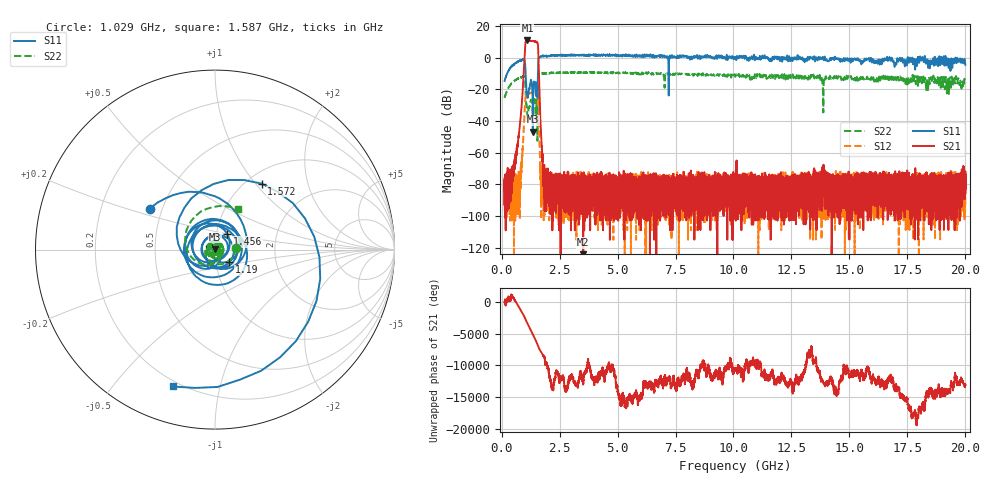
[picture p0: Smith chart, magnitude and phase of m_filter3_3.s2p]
!Created with skrf (http://scikit-rf.org).
# GHz S RI R 50.0
!freq ReS11 ImS11 ReS21 ImS21 ReS12 ImS12 ReS22 ImS22
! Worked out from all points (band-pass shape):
!   20013 points, 130 MHz to 20 GHz, reference 50 ohm
!   highest |S21| = 10.85 dB at 1.112 GHz (marker M1); lowest = -178.6 dB at 3.52 GHz (marker M2)
!   |S21| within 3 dB of the highest: 1.018 GHz to 1.569 GHz (551.7 MHz wide, 42.7 % of centre)
!   lowest |S11| = -46.8 dB at 1.346 GHz (marker M3), VSWR 1.01, Z = 49.8 + j0.398 ohm
!   |S11| at or under -10 dB: start of sweep to 240.7 MHz; 1.037 GHz to 1.567 GHz (530.6 MHz wide, 40.8 % of centre); 7.203524 GHz to 7.2114 GHz (7.875 MHz wide, 0.109 % of centre) (the widest 3 of 4)
!   |S22| runs from -52.5 to -9.0 dB; largest |S21 - S12| = 3.5
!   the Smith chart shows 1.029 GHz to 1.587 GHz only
!   S11 on the Smith chart (normalised r, x): 1.029 GHz: 0.43, +0.24; 1.19 GHz: 1.16, -0.16; 1.456 GHz: 1.13, +0.20; 1.572 GHz: 1.17, +1.08; 1.587 GHz: 0.17, -0.72
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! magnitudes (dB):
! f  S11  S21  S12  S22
! 130 MHz  -14.8  -80.0  -84.6  -25.5
! 482 MHz  -4.7  -71.0  -81.4  -15.5
! 760 MHz  -2.0  -46.6  -79.0  -13.1
! 841 MHz  -1.7  -34.1  -71.8  -12.5
! 931 MHz  -1.1  -15.4  -51.6  -12.0
! 1.029 GHz  -7.4  9.4  -25.7  -18.6
! 1.112 GHz  -22.7  10.9  -23.4  -39.2
! 1.19 GHz  -19.5  10.6  -22.9  -31.1
! 1.346 GHz  -46.8  10.6  -21.8  -35.2
! 1.456 GHz  -19.1  10.2  -21.4  -33.3
! 1.572 GHz  -6.9  7.3  -23.6  -16.6
! 1.587 GHz  -2.0  0.4  -30.3  -11.8
! 1.731 GHz  0.9  -55.6  -75.0  -10.0
! 1.807 GHz  0.8  -73.6  -81.8  -10.0
! 1.893 GHz  0.9  -81.4  -78.4  -9.8
! 3.442 GHz  1.2  -96.5  -89.8  -9.8
! 3.52 GHz  1.9  -178.6  -79.6  -9.6
! 6.754 GHz  1.3  -83.3  -83.0  -9.9
! 10.06 GHz  0.2  -77.3  -74.0  -11.7
! 13.38 GHz  -0.4  -78.5  -80.3  -12.2
! 16.69 GHz  -0.2  -82.5  -85.8  -15.4
! 20 GHz  -4.6  -73.9  -79.2  -16.1
